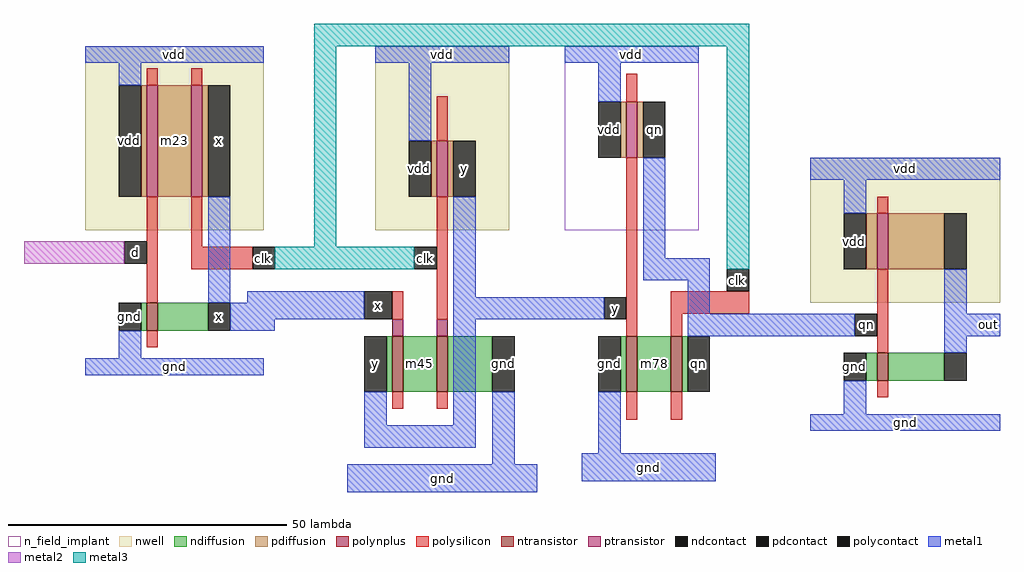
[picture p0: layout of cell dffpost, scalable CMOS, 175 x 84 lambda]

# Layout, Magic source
magic
tech scmos
<< nwell >>
rect 0 0 32 33
rect 52 0 76 33
rect 130 -13 164 13
<< n_field_implant >>
rect 86 0 110 33
<< ntransistor >>
rect 11 -18 13 -13
rect 55 -29 57 -19
rect 63 -29 65 -19
rect 97 -29 99 -19
rect 105 -29 107 -19
rect 142 -27 144 -22
<< ptransistor >>
rect 11 6 13 26
rect 19 6 21 26
rect 63 6 65 16
rect 97 13 99 23
rect 142 -7 144 3
<< ndiffusion >>
rect 10 -18 11 -13
rect 13 -18 22 -13
rect 54 -29 55 -19
rect 57 -29 63 -19
rect 65 -29 73 -19
rect 96 -29 97 -19
rect 99 -29 105 -19
rect 107 -29 108 -19
rect 140 -27 142 -22
rect 144 -27 154 -22
<< pdiffusion >>
rect 10 6 11 26
rect 13 6 19 26
rect 21 6 22 26
rect 62 6 63 16
rect 65 6 66 16
rect 96 13 97 23
rect 99 13 100 23
rect 140 -7 142 3
rect 144 -7 154 3
<< ndcontact >>
rect 6 -18 10 -13
rect 22 -18 26 -13
rect 50 -29 54 -19
rect 73 -29 77 -19
rect 92 -29 96 -19
rect 108 -29 112 -19
rect 136 -27 140 -22
rect 154 -27 158 -22
<< pdcontact >>
rect 6 6 10 26
rect 22 6 26 26
rect 58 6 62 16
rect 66 6 70 16
rect 92 13 96 23
rect 100 13 104 23
rect 136 -7 140 3
rect 154 -7 158 3
<< polysilicon >>
rect 11 26 13 29
rect 19 26 21 29
rect 63 16 65 24
rect 97 23 99 28
rect 11 -13 13 6
rect 19 -3 21 6
rect 19 -7 30 -3
rect 55 -16 57 -11
rect 11 -21 13 -18
rect 63 -16 65 6
rect 97 -19 99 13
rect 142 3 144 6
rect 105 -15 119 -11
rect 105 -19 107 -15
rect 142 -22 144 -7
rect 55 -32 57 -29
rect 63 -32 65 -29
rect 97 -34 99 -29
rect 105 -34 107 -29
rect 142 -30 144 -27
<< polycontact >>
rect 7 -6 11 -2
rect 30 -7 34 -3
rect 59 -7 63 -3
rect 50 -16 55 -11
rect 93 -16 97 -12
rect 115 -11 119 -7
rect 138 -19 142 -15
<< polynplus >>
rect 55 -19 57 -16
rect 63 -19 65 -16
<< metal1 >>
rect 0 30 32 33
rect 52 30 76 33
rect 86 30 110 33
rect 6 26 10 30
rect 58 16 62 30
rect 92 23 96 30
rect 22 -13 26 6
rect 29 -13 50 -11
rect 26 -16 50 -13
rect 66 -12 70 6
rect 100 -5 104 13
rect 130 9 164 13
rect 136 3 140 9
rect 100 -9 112 -5
rect 66 -16 93 -12
rect 108 -15 112 -9
rect 154 -15 158 -7
rect 26 -18 34 -16
rect 6 -23 10 -18
rect 0 -26 32 -23
rect 50 -35 54 -29
rect 66 -35 70 -16
rect 108 -19 138 -15
rect 154 -19 164 -15
rect 50 -39 70 -35
rect 73 -42 77 -29
rect 154 -22 158 -19
rect 92 -40 96 -29
rect 136 -33 140 -27
rect 130 -36 164 -33
rect 47 -47 81 -42
rect 89 -45 113 -40
<< metal2 >>
rect -11 -6 7 -2
<< metal3 >>
rect 41 33 119 37
rect 41 -3 45 33
rect 34 -7 59 -3
rect 115 -7 119 33
<< labels >>
rlabel metal1 0 30 32 33 5 vdd
rlabel pdcontact 6 6 10 26 1 vdd
rlabel metal1 0 -26 32 -23 1 gnd
rlabel ndcontact 6 -18 10 -13 1 gnd
rlabel pdiffusion 14 6 18 26 1 m23
rlabel pdcontact 22 6 26 26 1 x
rlabel ndcontact 22 -18 26 -13 1 x
rlabel polycontact 7 -6 11 -2 1 d
rlabel polycontact 30 -7 34 -3 1 clk
rlabel metal1 52 30 76 33 5 vdd
rlabel pdcontact 58 6 62 16 1 vdd
rlabel metal1 47 -47 81 -42 1 gnd
rlabel ndcontact 73 -29 77 -19 1 gnd
rlabel pdcontact 66 6 70 16 1 y
rlabel ndcontact 50 -29 54 -19 1 y
rlabel ndiffusion 58 -29 62 -19 1 m45
rlabel polycontact 50 -16 55 -11 1 x
rlabel polycontact 59 -7 63 -3 1 clk
rlabel metal1 86 30 110 33 1 vdd
rlabel pdcontact 92 13 96 23 1 vdd
rlabel pdcontact 100 13 104 23 1 qn
rlabel ndcontact 108 -29 112 -19 1 qn
rlabel ndcontact 92 -29 96 -19 1 gnd
rlabel metal1 89 -45 113 -40 1 gnd
rlabel polycontact 93 -16 97 -12 1 y
rlabel ndiffusion 100 -29 104 -19 1 m78
rlabel polycontact 115 -11 119 -7 1 clk
rlabel polycontact 138 -19 142 -15 1 qn
rlabel metal1 130 9 164 13 1 vdd
rlabel pdcontact 136 -7 140 3 1 vdd
rlabel ndcontact 136 -27 140 -22 1 gnd
rlabel metal1 130 -36 164 -33 1 gnd
rlabel metal1 160 -19 164 -15 7 out
<< end >>
